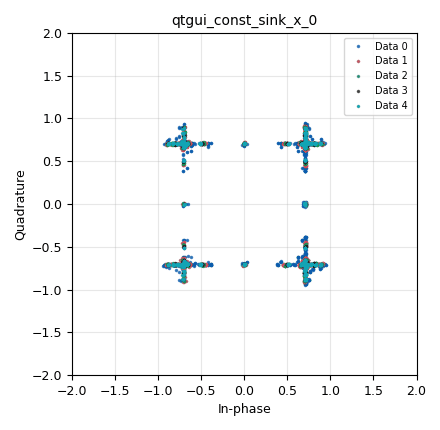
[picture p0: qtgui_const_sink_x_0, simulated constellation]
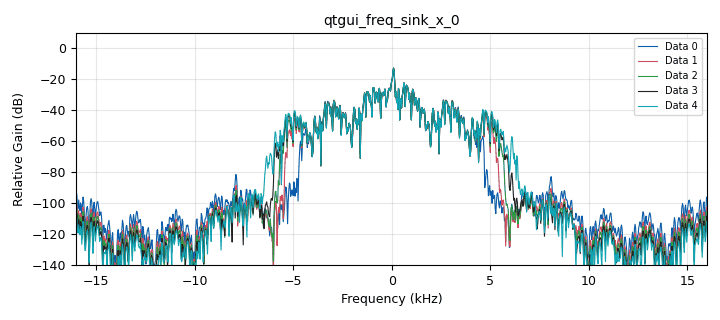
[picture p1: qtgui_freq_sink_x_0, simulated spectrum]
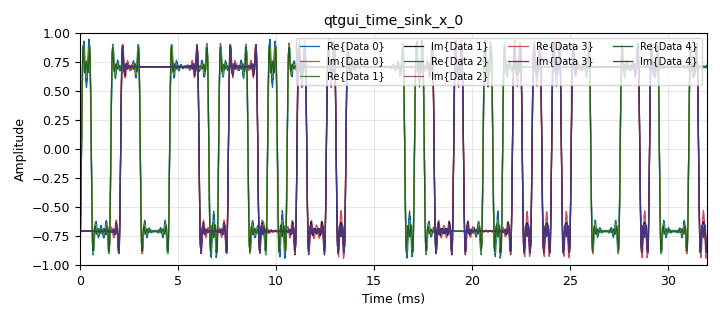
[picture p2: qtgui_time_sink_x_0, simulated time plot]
options:
  parameters:
    generate_options: qt_gui
    id: constellation_modulation_test
    output_language: python
    title: Constellation Modulation Test
  states: {}

blocks:
- name: excess_bw
  id: variable
  parameters:
    value: '0.35'
  states: {}
- name: qpsk_const
  id: variable_constellation_rect
  parameters:
    const_points: '[-1-1j, -1+1j, 1+1j, 1-1j]'
    imag_sect: '2'
    real_sect: '2'
    rot_sym: '4'
    sym_map: '[0, 1, 3, 2]'
    w_imag_sect: '1'
    w_real_sect: '1'
  states: {}
- name: samp_rate
  id: variable
  parameters:
    value: '32000'
  states: {}
- name: sps
  id: variable
  parameters:
    value: '4'
  states: {}
- name: analog_random_source_x_0
  id: analog_random_source_x
  parameters:
    max: '3'
    min: '0'
    num_samps: '10000'
    repeat: 'True'
    type: byte
  states: {}
- name: digital_constellation_modulator_0
  id: digital_constellation_modulator
  parameters:
    constellation: qpsk_const
    differential: 'True'
    excess_bw: excess_bw
    samples_per_symbol: sps
  states: {}
- name: digital_constellation_modulator_0_0
  id: digital_constellation_modulator
  parameters:
    constellation: qpsk_const
    differential: 'True'
    excess_bw: excess_bw*1.25
    samples_per_symbol: sps
  states: {}
- name: digital_constellation_modulator_0_0_0
  id: digital_constellation_modulator
  parameters:
    constellation: qpsk_const
    differential: 'True'
    excess_bw: excess_bw*1.5
    samples_per_symbol: sps
  states: {}
- name: digital_constellation_modulator_0_0_0_0
  id: digital_constellation_modulator
  parameters:
    constellation: qpsk_const
    differential: 'True'
    excess_bw: excess_bw*0.5
    samples_per_symbol: sps
  states: {}
- name: digital_constellation_modulator_0_0_0_1
  id: digital_constellation_modulator
  parameters:
    constellation: qpsk_const
    differential: 'True'
    excess_bw: excess_bw*1.75
    samples_per_symbol: sps
  states: {}
- name: note_0
  id: note
  parameters:
    comment: |-
      excess_bw is alpha in the raised cosine filter (rolloff factor)
      Typical values are between 0.2 and 0.35
  states: {}
- name: qtgui_const_sink_x_0
  id: qtgui_const_sink_x
  parameters:
    color3: '"red"'
    color4: '"red"'
    color5: '"red"'
    nconnections: '5'
    size: '1024'
    type: complex
  states: {}
- name: qtgui_freq_sink_x_0
  id: qtgui_freq_sink_x
  parameters:
    bw: samp_rate
    fc: '0'
    fftsize: '1024'
    nconnections: '5'
    type: complex
    wintype: firdes.WIN_BLACKMAN_hARRIS
  states: {}
- name: qtgui_time_sink_x_0
  id: qtgui_time_sink_x
  parameters:
    nconnections: '5'
    size: '1024'
    srate: samp_rate
    type: complex
  states: {}

connections:
- [analog_random_source_x_0, '0', digital_constellation_modulator_0, '0']
- [analog_random_source_x_0, '0', digital_constellation_modulator_0_0, '0']
- [analog_random_source_x_0, '0', digital_constellation_modulator_0_0_0, '0']
- [analog_random_source_x_0, '0', digital_constellation_modulator_0_0_0_0, '0']
- [analog_random_source_x_0, '0', digital_constellation_modulator_0_0_0_1, '0']
- [digital_constellation_modulator_0, '0', qtgui_const_sink_x_0, '1']
- [digital_constellation_modulator_0, '0', qtgui_freq_sink_x_0, '1']
- [digital_constellation_modulator_0, '0', qtgui_time_sink_x_0, '1']
- [digital_constellation_modulator_0_0, '0', qtgui_const_sink_x_0, '2']
- [digital_constellation_modulator_0_0, '0', qtgui_freq_sink_x_0, '2']
- [digital_constellation_modulator_0_0, '0', qtgui_time_sink_x_0, '2']
- [digital_constellation_modulator_0_0_0, '0', qtgui_const_sink_x_0, '3']
- [digital_constellation_modulator_0_0_0, '0', qtgui_freq_sink_x_0, '3']
- [digital_constellation_modulator_0_0_0, '0', qtgui_time_sink_x_0, '3']
- [digital_constellation_modulator_0_0_0_0, '0', qtgui_const_sink_x_0, '0']
- [digital_constellation_modulator_0_0_0_0, '0', qtgui_freq_sink_x_0, '0']
- [digital_constellation_modulator_0_0_0_0, '0', qtgui_time_sink_x_0, '0']
- [digital_constellation_modulator_0_0_0_1, '0', qtgui_const_sink_x_0, '4']
- [digital_constellation_modulator_0_0_0_1, '0', qtgui_freq_sink_x_0, '4']
- [digital_constellation_modulator_0_0_0_1, '0', qtgui_time_sink_x_0, '4']

metadata:
  file_format: 1
